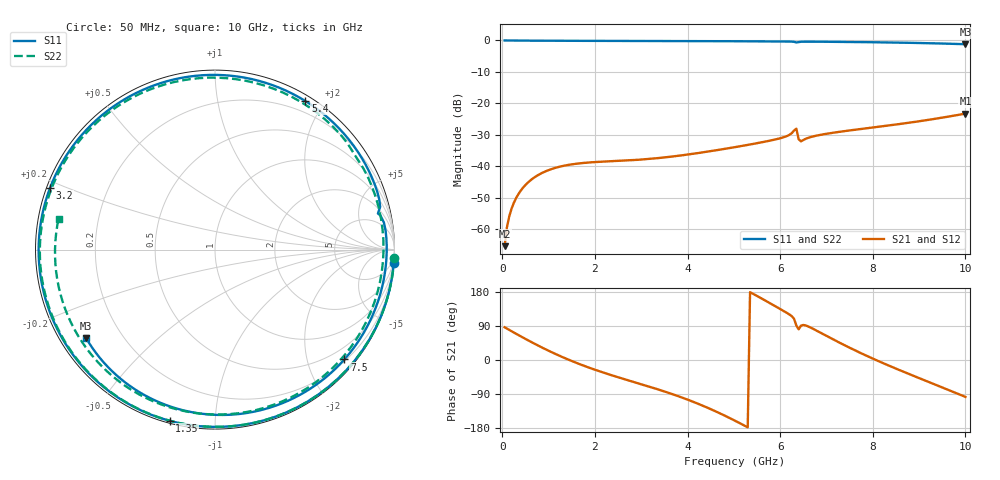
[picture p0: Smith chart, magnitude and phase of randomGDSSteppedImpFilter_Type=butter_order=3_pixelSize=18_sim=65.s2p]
! freq	dB(S11)	phase(S11)	dB(S12)	phase(S12)
!  dB(S21)	phase(S21)	dB(S22)	phase(S22)
!S-par simulation data
#  GHz  S  DB  R 50
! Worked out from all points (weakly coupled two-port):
!   200 points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, 50 MHz to 10 GHz, reference 50 ohm
!   highest |S21| = -23.28 dB at 10 GHz (marker M1); lowest = -65.4 dB at 50 MHz (marker M2)
!   lowest |S11| = -1.2 dB at 10 GHz (marker M3), VSWR 14.50, Z = 3.78 - j15.4 ohm
!   |S11| at or under -10 dB: nowhere
!   |S22| runs from -1.0 to 0.0 dB; largest |S21 - S12| = 0
!   S11 on the Smith chart (normalised r, x): 50 MHz: 0, -26; 1.35 GHz: 0.01, -0.77; 3.2 GHz: 0.01, +0.18; 5.4 GHz: 0.07, +1.78; 7.5 GHz: 0.23, -2.71; 10 GHz: 0.08, -0.31
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0.05  -0.00 -4.4  -65.45 86.4  -65.45 86.4  -0.00 -2.7
0.15  -0.02 -13.1  -55.97 79.4  -55.97 79.4  -0.01 -7.9
0.4  -0.05 -34.3  -47.74 62.3  -47.74 62.3  -0.03 -21.0
0.85  -0.09 -70.0  -42.21 33.4  -42.21 33.4  -0.06 -44.2
1.35  -0.11 -104.8  -39.80 5.0  -39.80 5.0  -0.09 -69.0
1.75  -0.13 -129.0  -38.98 -14.6  -38.98 -14.6  -0.11 -88.0
2.45  -0.14 -165.7  -38.35 -43.6  -38.35 -43.6  -0.14 -119.8
3.2  -0.16 159.4  -37.65 -71.4  -37.65 -71.4  -0.17 -152.7
3.4  -0.17 150.4  -37.37 -79.0  -37.37 -79.0  -0.19 -161.5
4.25  -0.21 112.3  -35.78 -116.6  -35.78 -116.6  -0.24 159.7
5.05  -0.25 75.3  -33.88 -161.7  -33.88 -161.7  -0.32 118.6
5.4  -0.27 58.7  -32.96 175.7  -32.96 175.7  -0.36 98.3
6  -0.32 29.7  -31.12 134.6  -31.12 134.6  -0.43 59.8
6.35  -0.63 12.5  -28.07 90.7  -28.07 90.7  -0.53 35.3
6.45  -0.42 9.1  -32.09 90.7  -32.09 90.7  -0.51 28.6
6.7  -0.39 -3.4  -30.57 83.0  -30.57 83.0  -0.53 10.5
7.1  -0.43 -22.2  -29.46 57.3  -29.46 57.3  -0.58 -18.3
7.5  -0.49 -40.3  -28.63 32.4  -28.63 32.4  -0.63 -46.2
7.9  -0.55 -57.8  -27.88 9.3  -27.88 9.3  -0.69 -72.5
8.35  -0.64 -76.9  -27.04 -15.0  -27.04 -15.0  -0.76 -100.2
9.2  -0.87 -111.6  -25.27 -57.5  -25.27 -57.5  -0.90 -147.9
10  -1.20 -145.6  -23.28 -97.4  -23.28 -97.4  -1.03 168.8
